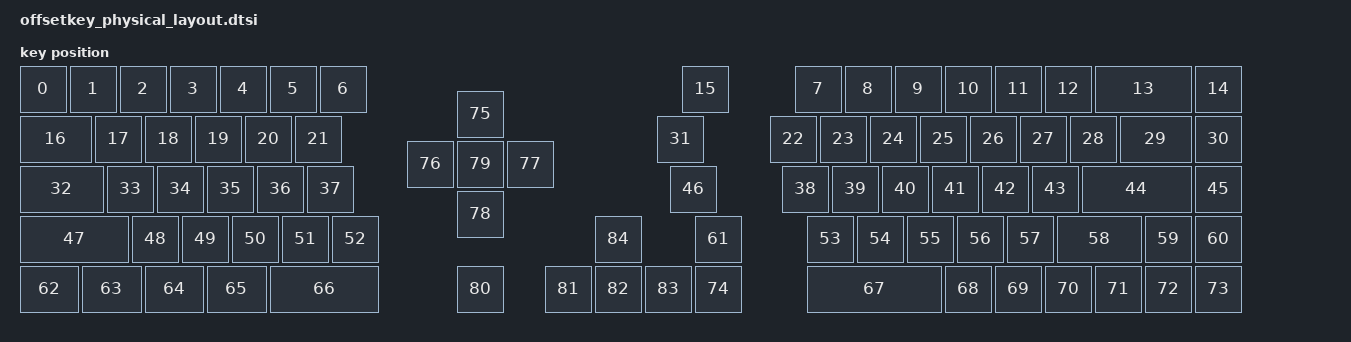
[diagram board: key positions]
#include <physical_layouts.dtsi>

/ {
    offsetkey_physical_layout: offsetkey_physical_layout {
    compatible = "zmk,physical-layout";
    display-name = "Default";
    transform = <&default_transform>;
        keys  //                     w   h    x    y     rot    rx    ry
            = <&key_physical_attrs 100 100    0    0       0     0     0>
            , <&key_physical_attrs 100 100  100    0       0     0     0>
            , <&key_physical_attrs 100 100  200    0       0     0     0>
            , <&key_physical_attrs 100 100  300    0       0     0     0>
            , <&key_physical_attrs 100 100  400    0       0     0     0>
            , <&key_physical_attrs 100 100  500    0       0     0     0>
            , <&key_physical_attrs 100 100  600    0       0     0     0>
            , <&key_physical_attrs 100 100 1550    0       0     0     0>
            , <&key_physical_attrs 100 100 1650    0       0     0     0>
            , <&key_physical_attrs 100 100 1750    0       0     0     0>
            , <&key_physical_attrs 100 100 1850    0       0     0     0>
            , <&key_physical_attrs 100 100 1950    0       0     0     0>
            , <&key_physical_attrs 100 100 2050    0       0     0     0>
            , <&key_physical_attrs 200 100 2150    0       0     0     0>
            , <&key_physical_attrs 100 100 2350    0       0     0     0>
            , <&key_physical_attrs 100 100 1325    0       0     0     0>
            , <&key_physical_attrs 150 100    0  100       0     0     0>
            , <&key_physical_attrs 100 100  150  100       0     0     0>
            , <&key_physical_attrs 100 100  250  100       0     0     0>
            , <&key_physical_attrs 100 100  350  100       0     0     0>
            , <&key_physical_attrs 100 100  450  100       0     0     0>
            , <&key_physical_attrs 100 100  550  100       0     0     0>
            , <&key_physical_attrs 100 100 1500  100       0     0     0>
            , <&key_physical_attrs 100 100 1600  100       0     0     0>
            , <&key_physical_attrs 100 100 1700  100       0     0     0>
            , <&key_physical_attrs 100 100 1800  100       0     0     0>
            , <&key_physical_attrs 100 100 1900  100       0     0     0>
            , <&key_physical_attrs 100 100 2000  100       0     0     0>
            , <&key_physical_attrs 100 100 2100  100       0     0     0>
            , <&key_physical_attrs 150 100 2200  100       0     0     0>
            , <&key_physical_attrs 100 100 2350  100       0     0     0>
            , <&key_physical_attrs 100 100 1275  100       0     0     0>
            , <&key_physical_attrs 175 100    0  200       0     0     0>
            , <&key_physical_attrs 100 100  175  200       0     0     0>
            , <&key_physical_attrs 100 100  275  200       0     0     0>
            , <&key_physical_attrs 100 100  375  200       0     0     0>
            , <&key_physical_attrs 100 100  475  200       0     0     0>
            , <&key_physical_attrs 100 100  575  200       0     0     0>
            , <&key_physical_attrs 100 100 1525  200       0     0     0>
            , <&key_physical_attrs 100 100 1625  200       0     0     0>
            , <&key_physical_attrs 100 100 1725  200       0     0     0>
            , <&key_physical_attrs 100 100 1825  200       0     0     0>
            , <&key_physical_attrs 100 100 1925  200       0     0     0>
            , <&key_physical_attrs 100 100 2025  200       0     0     0>
            , <&key_physical_attrs 225 100 2125  200       0     0     0>
            , <&key_physical_attrs 100 100 2350  200       0     0     0>
            , <&key_physical_attrs 100 100 1300  200       0     0     0>
            , <&key_physical_attrs 225 100    0  300       0     0     0>
            , <&key_physical_attrs 100 100  225  300       0     0     0>
            , <&key_physical_attrs 100 100  325  300       0     0     0>
            , <&key_physical_attrs 100 100  425  300       0     0     0>
            , <&key_physical_attrs 100 100  525  300       0     0     0>
            , <&key_physical_attrs 100 100  625  300       0     0     0>
            , <&key_physical_attrs 100 100 1575  300       0     0     0>
            , <&key_physical_attrs 100 100 1675  300       0     0     0>
            , <&key_physical_attrs 100 100 1775  300       0     0     0>
            , <&key_physical_attrs 100 100 1875  300       0     0     0>
            , <&key_physical_attrs 100 100 1975  300       0     0     0>
            , <&key_physical_attrs 176 100 2075  300       0     0     0>
            , <&key_physical_attrs 100 100 2250  300       0     0     0>
            , <&key_physical_attrs 100 100 2350  300       0     0     0>
            , <&key_physical_attrs 100 100 1350  300       0     0     0>
            , <&key_physical_attrs 125 100    0  400       0     0     0>
            , <&key_physical_attrs 125 100  125  400       0     0     0>
            , <&key_physical_attrs 125 100  250  400       0     0     0>
            , <&key_physical_attrs 125 100  375  400       0     0     0>
            , <&key_physical_attrs 225 100  500  400       0     0     0>
            , <&key_physical_attrs 275 100 1575  400       0     0     0>
            , <&key_physical_attrs 100 100 1850  400       0     0     0>
            , <&key_physical_attrs 100 100 1950  400       0     0     0>
            , <&key_physical_attrs 100 100 2050  400       0     0     0>
            , <&key_physical_attrs 100 100 2150  400       0     0     0>
            , <&key_physical_attrs 100 100 2250  400       0     0     0>
            , <&key_physical_attrs 100 100 2350  400       0     0     0>
            , <&key_physical_attrs 100 100 1350  400       0     0     0>
            , <&key_physical_attrs 100 100  875   50       0     0     0>
            , <&key_physical_attrs 100 100  775  150       0     0     0>
            , <&key_physical_attrs 100 100  975  150       0     0     0>
            , <&key_physical_attrs 100 100  875  250       0     0     0>
            , <&key_physical_attrs 100 100  875  150       0     0     0>
            , <&key_physical_attrs 100 100  875  400       0     0     0>
            , <&key_physical_attrs 100 100 1050  400       0     0     0>
            , <&key_physical_attrs 100 100 1150  400       0     0     0>
            , <&key_physical_attrs 100 100 1250  400       0     0     0>
            , <&key_physical_attrs 100 100 1150  300       0     0     0>
            ;
    };
};
